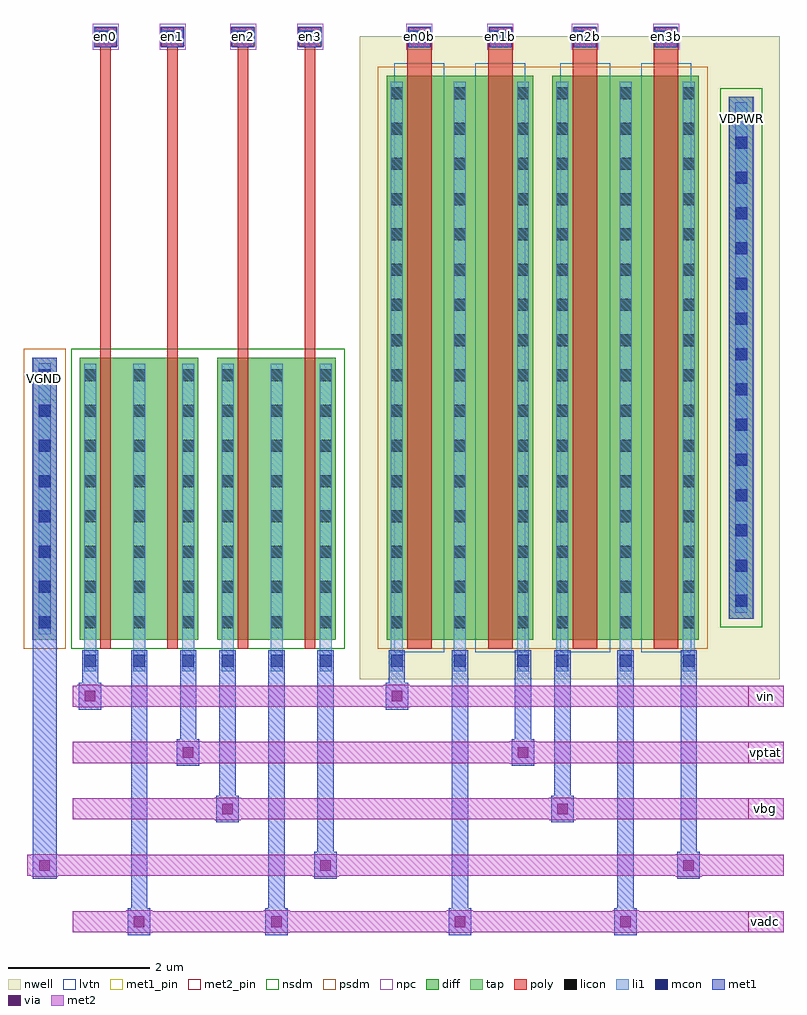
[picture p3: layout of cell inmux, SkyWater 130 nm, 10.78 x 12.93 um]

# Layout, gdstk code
import gdstk
lib = gdstk.Library(unit=1e-6, precision=1e-09)
def R(c, l, rs):  # rectangles x0, y0, x1, y1
    for r in rs: c.add(gdstk.rectangle(r[:2], r[2:], *l))
def A(c, l, x, y, w, h, nx, ny, dx, dy):  # array of equal rectangles
    R(c, l, [(x+i*dx, y+j*dy, x+i*dx+w, y+j*dy+h) for i in range(nx) for j in range(ny)])
nwell = (64, 20)
diff = (65, 20)
tap = (65, 44)
poly = (66, 20)
licon = (66, 44)
li1 = (67, 20)
mcon = (67, 44)
met1_pin = (68, 16)
met1 = (68, 20)
via = (68, 44)
met2_pin = (69, 16)
met2 = (69, 20)
nsdm = (93, 44)
psdm = (94, 20)
npc = (95, 20)
lvtn = (125, 44)

inmux = lib.new_cell('inmux')
R(inmux, nwell, [(4.47,-0.56,10.43,8.56)])
R(inmux, diff, [(0.5,0,2.18,4), (2.45,0,4.13,4), (4.85,0,6.93,8), (7.2,0,9.28,8)])
R(inmux, tap, [(-0.175,0,0.175,4), (9.705,0.3,10.055,7.7)])
R(inmux, poly, [(0.79,-0.13,0.94,8.415), (1.74,-0.13,1.89,8.415), (2.74,-0.13,2.89,8.415), (3.69,-0.13,3.84,8.415), (5.14,-0.13,5.49,8.55), (6.29,-0.13,6.64,8.55), (7.49,-0.13,7.84,8.55), (8.64,-0.13,8.99,8.55), (0.7,8.415,1.03,8.685), (1.65,8.415,1.98,8.685), (2.65,8.415,2.98,8.685), (3.6,8.415,3.93,8.685), (5.15,8.55,5.48,8.685), (6.3,8.55,6.63,8.685), (7.5,8.55,7.83,8.685), (8.65,8.55,8.98,8.685)])
A(inmux, licon, -0.085, 0.165, 0.17, 0.17, 1, 8, 0, 0.5)
A(inmux, licon, 0.56, 0.165, 0.17, 0.17, 3, 8, 0.695, 0.5)
A(inmux, licon, 2.51, 0.165, 0.17, 0.17, 3, 8, 0.695, 0.5)
A(inmux, licon, 4.91, 0.165, 0.17, 0.17, 3, 16, 0.895, 0.5)
A(inmux, licon, 7.26, 0.165, 0.17, 0.17, 3, 16, 0.895, 0.5)
A(inmux, licon, 9.795, 0.465, 0.17, 0.17, 1, 14, 0, 0.5)
R(inmux, licon, [(0.78,8.465,0.95,8.635), (1.73,8.465,1.9,8.635), (2.73,8.465,2.9,8.635), (3.68,8.465,3.85,8.635), (5.23,8.465,5.4,8.635), (6.38,8.465,6.55,8.635), (7.58,8.465,7.75,8.635), (8.73,8.465,8.9,8.635)])
A(inmux, li1, 0.56, -0.45, 0.17, 4.365, 3, 1, 0.695, 0)
A(inmux, li1, 2.51, -0.45, 0.17, 4.365, 3, 1, 0.695, 0)
A(inmux, li1, 4.91, -0.45, 0.17, 8.365, 3, 1, 0.895, 0)
A(inmux, li1, 7.26, -0.45, 0.17, 8.365, 3, 1, 0.895, 0)
R(inmux, li1, [(-0.085,0.08,0.085,3.92), (9.795,0.38,9.965,7.62), (0.7,8.465,1.03,8.635), (1.65,8.465,1.98,8.635), (2.65,8.465,2.98,8.635), (3.6,8.465,3.93,8.635), (5.15,8.465,5.48,8.635), (6.3,8.465,6.63,8.635), (7.5,8.465,7.83,8.635), (8.65,8.465,8.98,8.635)])
A(inmux, mcon, 0.56, -0.385, 0.17, 0.17, 3, 1, 0.695, 0)
A(inmux, mcon, 2.51, -0.385, 0.17, 0.17, 3, 1, 0.695, 0)
A(inmux, mcon, 4.91, -0.385, 0.17, 0.17, 3, 1, 0.895, 0)
A(inmux, mcon, 7.26, -0.385, 0.17, 0.17, 3, 1, 0.895, 0)
A(inmux, mcon, -0.085, 0.165, 0.17, 0.17, 1, 8, 0, 0.5)
A(inmux, mcon, 9.795, 0.465, 0.17, 0.17, 1, 14, 0, 0.5)
R(inmux, mcon, [(0.78,8.465,0.95,8.635), (1.73,8.465,1.9,8.635), (2.73,8.465,2.9,8.635), (3.68,8.465,3.85,8.635), (5.23,8.465,5.4,8.635), (6.38,8.465,6.55,8.635), (7.58,8.465,7.75,8.635), (8.73,8.465,8.9,8.635)])
R(inmux, met1_pin, [(-0.17,3.4,0.17,4), (9.71,7.1,10.05,7.7), (0.705,8.405,1.025,8.695), (1.655,8.405,1.975,8.695), (2.655,8.405,2.975,8.695), (3.605,8.405,3.925,8.695), (5.155,8.405,5.475,8.695), (6.305,8.405,6.625,8.695), (7.505,8.405,7.825,8.695), (8.655,8.405,8.975,8.695)])
R(inmux, met1, [(1.18,-4.19,1.5,-3.81), (3.13,-4.19,3.45,-3.81), (5.73,-4.19,6.05,-3.81), (8.08,-4.19,8.4,-3.81), (1.225,-3.81,1.455,-0.15), (3.175,-3.81,3.405,-0.15), (5.775,-3.81,6.005,-0.15), (8.125,-3.81,8.355,-0.15), (-0.17,-3.39,0.17,4), (3.825,-3.39,4.145,-3.01), (8.975,-3.39,9.295,-3.01), (3.87,-3.01,4.1,-0.15), (9.02,-3.01,9.25,-0.15), (2.435,-2.59,2.755,-2.21), (7.185,-2.59,7.505,-2.21), (2.48,-2.21,2.71,-0.15), (7.23,-2.21,7.46,-0.15), (1.875,-1.79,2.195,-1.41), (6.625,-1.79,6.945,-1.41), (1.92,-1.41,2.15,-0.15), (6.67,-1.41,6.9,-0.15), (0.485,-0.99,0.805,-0.61), (4.835,-0.99,5.155,-0.61), (0.53,-0.61,0.76,-0.15), (4.88,-0.61,5.11,-0.15), (9.71,0.3,10.05,7.7), (0.705,8.405,1.025,8.695), (1.655,8.405,1.975,8.695), (2.655,8.405,2.975,8.695), (3.605,8.405,3.925,8.695), (5.155,8.405,5.475,8.695), (6.305,8.405,6.625,8.695), (7.505,8.405,7.825,8.695), (8.655,8.405,8.975,8.695)])
R(inmux, via, [(1.265,-4.075,1.415,-3.925), (3.215,-4.075,3.365,-3.925), (5.815,-4.075,5.965,-3.925), (8.165,-4.075,8.315,-3.925), (-0.075,-3.275,0.075,-3.125), (3.91,-3.275,4.06,-3.125), (9.06,-3.275,9.21,-3.125), (2.52,-2.475,2.67,-2.325), (7.27,-2.475,7.42,-2.325), (1.96,-1.675,2.11,-1.525), (6.71,-1.675,6.86,-1.525), (0.57,-0.875,0.72,-0.725), (4.92,-0.875,5.07,-0.725)])
A(inmux, met2_pin, 9.98, -2.55, 0.5, 0.3, 1, 3, 0, 0.8)
R(inmux, met2_pin, [(9.98,-4.15,10.48,-3.85)])
A(inmux, met2, 0.4, -2.55, 10.08, 0.3, 1, 3, 0, 0.8)
R(inmux, met2, [(1.155,-4.16,1.525,-4.15), (3.105,-4.16,3.475,-4.15), (5.705,-4.16,6.075,-4.15), (8.055,-4.16,8.425,-4.15), (0.4,-4.15,10.48,-3.85), (1.155,-3.85,1.525,-3.84), (3.105,-3.85,3.475,-3.84), (5.705,-3.85,6.075,-3.84), (8.055,-3.85,8.425,-3.84), (-0.185,-3.36,0.185,-3.35), (3.8,-3.36,4.17,-3.35), (8.95,-3.36,9.32,-3.35), (-0.25,-3.35,10.48,-3.05), (-0.185,-3.05,0.185,-3.04), (3.8,-3.05,4.17,-3.04), (8.95,-3.05,9.32,-3.04), (2.41,-2.56,2.78,-2.55), (7.16,-2.56,7.53,-2.55), (2.41,-2.25,2.78,-2.24), (7.16,-2.25,7.53,-2.24), (1.85,-1.76,2.22,-1.75), (6.6,-1.76,6.97,-1.75), (1.85,-1.45,2.22,-1.44), (6.6,-1.45,6.97,-1.44), (0.46,-0.96,0.83,-0.95), (4.81,-0.96,5.18,-0.95), (0.46,-0.65,0.83,-0.64), (4.81,-0.65,5.18,-0.64)])
R(inmux, nsdm, [(0.375,-0.125,4.255,4.125), (9.58,0.175,10.18,7.825)])
R(inmux, psdm, [(-0.3,-0.125,0.3,4.125), (4.725,-0.125,9.405,8.125)])
R(inmux, npc, [(0.68,8.365,1.05,8.735), (1.63,8.365,2,8.735), (2.63,8.365,3,8.735), (3.58,8.365,3.95,8.735), (5.13,8.365,5.5,8.735), (6.28,8.365,6.65,8.735), (7.48,8.365,7.85,8.735), (8.63,8.365,9,8.735)])
R(inmux, lvtn, [(4.96,-0.18,5.67,8.18), (6.11,-0.18,6.82,8.18), (7.31,-0.18,8.02,8.18), (8.46,-0.18,9.17,8.18)])
inmux.add(gdstk.Label('en0', (0.865,8.55), layer=68, texttype=5))
inmux.add(gdstk.Label('en1', (1.815,8.55), layer=68, texttype=5))
inmux.add(gdstk.Label('en2', (2.815,8.55), layer=68, texttype=5))
inmux.add(gdstk.Label('en3', (3.765,8.55), layer=68, texttype=5))
inmux.add(gdstk.Label('en0b', (5.315,8.55), layer=68, texttype=5))
inmux.add(gdstk.Label('en1b', (6.465,8.55), layer=68, texttype=5))
inmux.add(gdstk.Label('en2b', (7.665,8.55), layer=68, texttype=5))
inmux.add(gdstk.Label('en3b', (8.815,8.55), layer=68, texttype=5))
inmux.add(gdstk.Label('VGND', (0,3.7), layer=68, texttype=5))
inmux.add(gdstk.Label('VDPWR', (9.88,7.4), layer=68, texttype=5))
inmux.add(gdstk.Label('vin', (10.23,-0.8), layer=69, texttype=5))
inmux.add(gdstk.Label('vptat', (10.23,-1.6), layer=69, texttype=5))
inmux.add(gdstk.Label('vbg', (10.23,-2.4), layer=69, texttype=5))
inmux.add(gdstk.Label('vadc', (10.23,-4), layer=69, texttype=5))

lib.write_gds('inmux.gds')
